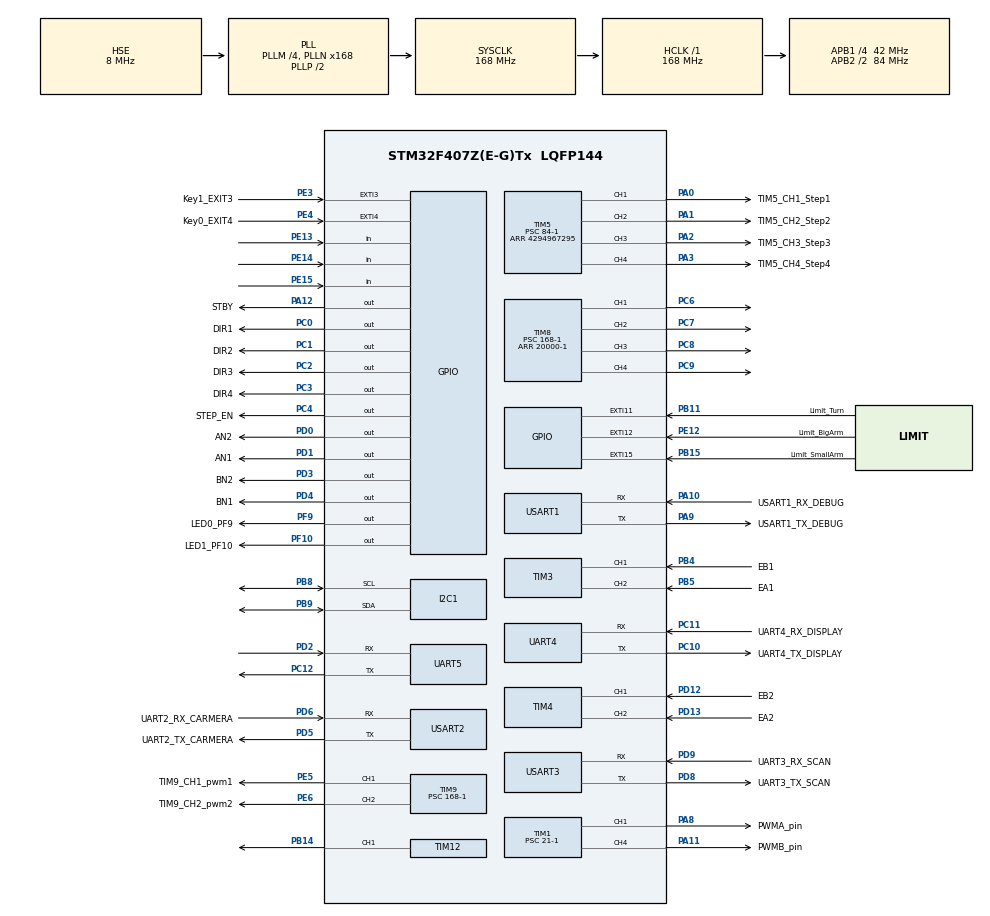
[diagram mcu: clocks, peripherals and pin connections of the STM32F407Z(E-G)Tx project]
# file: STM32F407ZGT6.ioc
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Dma.Request0=USART2_RX
Dma.Request1=USART2_TX
Dma.Request2=USART3_RX
Dma.Request3=USART3_TX
Dma.Request4=UART4_RX
Dma.Request5=UART4_TX
Dma.Request6=USART1_TX
Dma.Request7=USART1_RX
Dma.Request8=UART5_TX
Dma.UART4_RX.4.Direction=DMA_PERIPH_TO_MEMORY
Dma.UART4_RX.4.FIFOMode=DMA_FIFOMODE_DISABLE
Dma.UART4_RX.4.Instance=DMA1_Stream2
Dma.UART4_RX.4.MemDataAlignment=DMA_MDATAALIGN_BYTE
Dma.UART4_RX.4.MemInc=DMA_MINC_ENABLE
Dma.UART4_RX.4.Mode=DMA_NORMAL
Dma.UART4_RX.4.PeriphDataAlignment=DMA_PDATAALIGN_BYTE
Dma.UART4_RX.4.PeriphInc=DMA_PINC_DISABLE
Dma.UART4_RX.4.Priority=DMA_PRIORITY_HIGH
Dma.UART4_TX.5.Direction=DMA_MEMORY_TO_PERIPH
Dma.UART4_TX.5.FIFOMode=DMA_FIFOMODE_DISABLE
Dma.UART4_TX.5.Instance=DMA1_Stream4
Dma.UART4_TX.5.MemDataAlignment=DMA_MDATAALIGN_BYTE
Dma.UART4_TX.5.MemInc=DMA_MINC_ENABLE
Dma.UART4_TX.5.Mode=DMA_NORMAL
Dma.UART4_TX.5.PeriphDataAlignment=DMA_PDATAALIGN_BYTE
Dma.UART4_TX.5.PeriphInc=DMA_PINC_DISABLE
Dma.UART4_TX.5.Priority=DMA_PRIORITY_HIGH
Dma.UART5_TX.8.Direction=DMA_MEMORY_TO_PERIPH
Dma.UART5_TX.8.FIFOMode=DMA_FIFOMODE_DISABLE
Dma.UART5_TX.8.Instance=DMA1_Stream7
Dma.UART5_TX.8.MemDataAlignment=DMA_MDATAALIGN_BYTE
Dma.UART5_TX.8.MemInc=DMA_MINC_ENABLE
Dma.UART5_TX.8.Mode=DMA_NORMAL
Dma.UART5_TX.8.PeriphDataAlignment=DMA_PDATAALIGN_BYTE
Dma.UART5_TX.8.PeriphInc=DMA_PINC_DISABLE
Dma.UART5_TX.8.Priority=DMA_PRIORITY_LOW
Dma.USART1_RX.7.Direction=DMA_PERIPH_TO_MEMORY
Dma.USART1_RX.7.FIFOMode=DMA_FIFOMODE_DISABLE
Dma.USART1_RX.7.Instance=DMA2_Stream2
Dma.USART1_RX.7.MemDataAlignment=DMA_MDATAALIGN_BYTE
Dma.USART1_RX.7.MemInc=DMA_MINC_ENABLE
Dma.USART1_RX.7.Mode=DMA_CIRCULAR
Dma.USART1_RX.7.PeriphDataAlignment=DMA_PDATAALIGN_BYTE
Dma.USART1_RX.7.PeriphInc=DMA_PINC_DISABLE
Dma.USART1_RX.7.Priority=DMA_PRIORITY_LOW
Dma.USART1_TX.6.Direction=DMA_MEMORY_TO_PERIPH
Dma.USART1_TX.6.FIFOMode=DMA_FIFOMODE_DISABLE
Dma.USART1_TX.6.Instance=DMA2_Stream7
Dma.USART1_TX.6.MemDataAlignment=DMA_MDATAALIGN_BYTE
Dma.USART1_TX.6.MemInc=DMA_MINC_ENABLE
Dma.USART1_TX.6.Mode=DMA_NORMAL
Dma.USART1_TX.6.PeriphDataAlignment=DMA_PDATAALIGN_BYTE
Dma.USART1_TX.6.PeriphInc=DMA_PINC_DISABLE
Dma.USART1_TX.6.Priority=DMA_PRIORITY_LOW
Dma.USART2_RX.0.Direction=DMA_PERIPH_TO_MEMORY
Dma.USART2_RX.0.FIFOMode=DMA_FIFOMODE_DISABLE
Dma.USART2_RX.0.Instance=DMA1_Stream5
Dma.USART2_RX.0.MemDataAlignment=DMA_MDATAALIGN_BYTE
Dma.USART2_RX.0.MemInc=DMA_MINC_ENABLE
Dma.USART2_RX.0.Mode=DMA_CIRCULAR
Dma.USART2_RX.0.PeriphDataAlignment=DMA_PDATAALIGN_BYTE
Dma.USART2_RX.0.PeriphInc=DMA_PINC_DISABLE
Dma.USART2_RX.0.Priority=DMA_PRIORITY_HIGH
Dma.USART2_TX.1.Direction=DMA_MEMORY_TO_PERIPH
Dma.USART2_TX.1.FIFOMode=DMA_FIFOMODE_DISABLE
Dma.USART2_TX.1.Instance=DMA1_Stream6
Dma.USART2_TX.1.MemDataAlignment=DMA_MDATAALIGN_BYTE
Dma.USART2_TX.1.MemInc=DMA_MINC_ENABLE
Dma.USART2_TX.1.Mode=DMA_NORMAL
Dma.USART2_TX.1.PeriphDataAlignment=DMA_PDATAALIGN_BYTE
Dma.USART2_TX.1.PeriphInc=DMA_PINC_DISABLE
Dma.USART2_TX.1.Priority=DMA_PRIORITY_HIGH
Dma.USART3_RX.2.Direction=DMA_PERIPH_TO_MEMORY
Dma.USART3_RX.2.FIFOMode=DMA_FIFOMODE_DISABLE
Dma.USART3_RX.2.Instance=DMA1_Stream1
Dma.USART3_RX.2.MemDataAlignment=DMA_MDATAALIGN_BYTE
Dma.USART3_RX.2.MemInc=DMA_MINC_ENABLE
Dma.USART3_RX.2.Mode=DMA_NORMAL
Dma.USART3_RX.2.PeriphDataAlignment=DMA_PDATAALIGN_BYTE
Dma.USART3_RX.2.PeriphInc=DMA_PINC_DISABLE
Dma.USART3_RX.2.Priority=DMA_PRIORITY_HIGH
Dma.USART3_TX.3.Direction=DMA_MEMORY_TO_PERIPH
Dma.USART3_TX.3.FIFOMode=DMA_FIFOMODE_DISABLE
Dma.USART3_TX.3.Instance=DMA1_Stream3
Dma.USART3_TX.3.MemDataAlignment=DMA_MDATAALIGN_BYTE
Dma.USART3_TX.3.MemInc=DMA_MINC_ENABLE
Dma.USART3_TX.3.Mode=DMA_NORMAL
Dma.USART3_TX.3.PeriphDataAlignment=DMA_PDATAALIGN_BYTE
Dma.USART3_TX.3.PeriphInc=DMA_PINC_DISABLE
Dma.USART3_TX.3.Priority=DMA_PRIORITY_HIGH
I2C1.I2C_Mode=I2C_Fast
Mcu.Family=STM32F4
Mcu.Name=STM32F407Z(E-G)Tx
Mcu.Package=LQFP144
NVIC.DMA1_Stream1_IRQn=true\:1\:0\:true\:false\:true\:false\:true\:true
NVIC.DMA1_Stream2_IRQn=true\:1\:0\:true\:false\:true\:false\:true\:true
NVIC.DMA1_Stream3_IRQn=true\:1\:0\:true\:false\:true\:false\:true\:true
NVIC.DMA1_Stream4_IRQn=true\:1\:0\:true\:false\:true\:false\:true\:true
NVIC.DMA1_Stream5_IRQn=true\:1\:0\:true\:false\:true\:false\:true\:true
NVIC.DMA1_Stream6_IRQn=true\:1\:0\:true\:false\:true\:false\:true\:true
NVIC.DMA1_Stream7_IRQn=true\:1\:0\:true\:false\:true\:false\:true\:true
NVIC.DMA2_Stream2_IRQn=true\:0\:0\:false\:false\:true\:false\:true\:true
NVIC.DMA2_Stream7_IRQn=true\:0\:0\:false\:false\:true\:false\:true\:true
NVIC.EXTI15_10_IRQn=true\:0\:0\:true\:false\:true\:true\:true\:true
NVIC.EXTI3_IRQn=true\:0\:0\:true\:false\:true\:true\:true\:true
NVIC.EXTI4_IRQn=true\:0\:0\:true\:false\:true\:true\:true\:true
NVIC.PriorityGroup=NVIC_PRIORITYGROUP_2
NVIC.TIM1_UP_TIM10_IRQn=true\:2\:0\:true\:false\:true\:true\:true\:true
NVIC.TIM5_IRQn=true\:1\:1\:true\:false\:true\:true\:true\:true
NVIC.TIM6_DAC_IRQn=true\:1\:1\:true\:false\:true\:true\:true\:true
NVIC.TIM7_IRQn=true\:1\:1\:true\:false\:true\:true\:true\:true
NVIC.UART4_IRQn=true\:1\:0\:true\:false\:true\:true\:true\:true
NVIC.UART5_IRQn=true\:0\:0\:false\:false\:true\:true\:true\:true
NVIC.USART1_IRQn=true\:1\:1\:true\:false\:true\:true\:true\:true
NVIC.USART2_IRQn=true\:0\:0\:true\:false\:true\:true\:true\:true
NVIC.USART3_IRQn=true\:1\:0\:true\:false\:true\:true\:true\:true
PA0-WKUP.GPIO_Label=TIM5_CH1_Step1
PA0-WKUP.GPIO_PuPd=GPIO_PULLDOWN
PA0-WKUP.GPIO_Speed=GPIO_SPEED_FREQ_MEDIUM
PA0-WKUP.Signal=S_TIM5_CH1
PA1.GPIO_Label=TIM5_CH2_Step2
PA1.GPIO_PuPd=GPIO_PULLDOWN
PA1.GPIO_Speed=GPIO_SPEED_FREQ_MEDIUM
PA1.Signal=S_TIM5_CH2
PA10.GPIO_Label=USART1_RX_DEBUG
PA10.Mode=Asynchronous
PA10.Signal=USART1_RX
PA11.GPIO_Label=PWMB_pin
PA11.GPIO_Speed=GPIO_SPEED_FREQ_HIGH
PA11.Signal=S_TIM1_CH4
PA12.GPIO_Label=STBY
PA12.GPIO_PuPd=GPIO_PULLDOWN
PA12.Signal=GPIO_Output
PA13.Mode=Serial_Wire
PA13.Signal=SYS_JTMS-SWDIO
PA14.Mode=Serial_Wire
PA14.Signal=SYS_JTCK-SWCLK
PA2.GPIO_Label=TIM5_CH3_Step3
PA2.GPIO_PuPd=GPIO_PULLDOWN
PA2.GPIO_Speed=GPIO_SPEED_FREQ_MEDIUM
PA2.Signal=S_TIM5_CH3
PA3.GPIO_Label=TIM5_CH4_Step4
PA3.GPIO_PuPd=GPIO_PULLDOWN
PA3.GPIO_Speed=GPIO_SPEED_FREQ_MEDIUM
PA3.Signal=S_TIM5_CH4
PA8.GPIO_Label=PWMA_pin
PA8.GPIO_Speed=GPIO_SPEED_FREQ_HIGH
PA8.Signal=S_TIM1_CH1
PA9.GPIO_Label=USART1_TX_DEBUG
PA9.Mode=Asynchronous
PA9.Signal=USART1_TX
PB11.GPIO_Label=Limit_Turn
PB11.GPIO_ModeDefaultEXTI=GPIO_MODE_IT_FALLING
PB11.GPIO_PuPd=GPIO_PULLUP
PB11.Signal=GPXTI11
PB14.Signal=S_TIM12_CH1
PB15.GPIO_Label=Limit_SmallArm
PB15.GPIO_ModeDefaultEXTI=GPIO_MODE_IT_FALLING
PB15.GPIO_PuPd=GPIO_PULLUP
PB15.Signal=GPXTI15
PB4.GPIO_Label=EB1
PB4.GPIO_PuPd=GPIO_NOPULL
PB4.GPIO_Speed=GPIO_SPEED_FREQ_HIGH
PB4.Signal=S_TIM3_CH1
PB5.GPIO_Label=EA1
PB5.GPIO_PuPd=GPIO_NOPULL
PB5.GPIO_Speed=GPIO_SPEED_FREQ_HIGH
PB5.Signal=S_TIM3_CH2
PB8.Mode=I2C
PB8.Signal=I2C1_SCL
PB9.Mode=I2C
PB9.Signal=I2C1_SDA
PC0.GPIO_Label=DIR1
PC0.GPIO_PuPd=GPIO_PULLDOWN
PC0.Signal=GPIO_Output
PC1.GPIO_Label=DIR2
PC1.GPIO_PuPd=GPIO_PULLDOWN
PC1.GPIO_Speed=GPIO_SPEED_FREQ_LOW
PC1.Signal=GPIO_Output
PC10.GPIO_Label=UART4_TX_DISPLAY
PC10.Mode=Asynchronous
PC10.Signal=UART4_TX
PC11.GPIO_Label=UART4_RX_DISPLAY
PC11.Mode=Asynchronous
PC11.Signal=UART4_RX
PC12.Mode=Asynchronous
PC12.Signal=UART5_TX
PC2.GPIO_Label=DIR3
PC2.GPIO_PuPd=GPIO_PULLDOWN
PC2.GPIO_Speed=GPIO_SPEED_FREQ_LOW
PC2.Signal=GPIO_Output
PC3.GPIO_Label=DIR4
PC3.GPIO_PuPd=GPIO_PULLDOWN
PC3.GPIO_Speed=GPIO_SPEED_FREQ_LOW
PC3.Signal=GPIO_Output
PC4.GPIO_Label=STEP_EN
PC4.GPIO_PuPd=GPIO_PULLDOWN
PC4.Signal=GPIO_Output
PC6.GPIO_PuPd=GPIO_PULLDOWN
PC6.GPIO_Speed=GPIO_SPEED_FREQ_MEDIUM
PC6.Signal=S_TIM8_CH1
PC7.GPIO_PuPd=GPIO_PULLDOWN
PC7.GPIO_Speed=GPIO_SPEED_FREQ_MEDIUM
PC7.Signal=S_TIM8_CH2
PC8.GPIO_PuPd=GPIO_PULLDOWN
PC8.GPIO_Speed=GPIO_SPEED_FREQ_MEDIUM
PC8.Signal=S_TIM8_CH3
PC9.GPIO_PuPd=GPIO_PULLDOWN
PC9.GPIO_Speed=GPIO_SPEED_FREQ_MEDIUM
PC9.Signal=S_TIM8_CH4
PD0.GPIO_Label=AN2
PD0.Signal=GPIO_Output
PD1.GPIO_Label=AN1
PD1.GPIO_PuPd=GPIO_PULLDOWN
PD1.GPIO_Speed=GPIO_SPEED_FREQ_HIGH
PD1.Signal=GPIO_Output
PD12.GPIO_Label=EB2
PD12.GPIO_Speed=GPIO_SPEED_FREQ_HIGH
PD12.Signal=S_TIM4_CH1
PD13.GPIO_Label=EA2
PD13.GPIO_Speed=GPIO_SPEED_FREQ_HIGH
PD13.Signal=S_TIM4_CH2
PD2.Mode=Asynchronous
PD2.Signal=UART5_RX
PD3.GPIO_Label=BN2
PD3.GPIO_PuPd=GPIO_PULLDOWN
PD3.GPIO_Speed=GPIO_SPEED_FREQ_HIGH
PD3.Signal=GPIO_Output
PD4.GPIO_Label=BN1
PD4.GPIO_PuPd=GPIO_PULLDOWN
PD4.GPIO_Speed=GPIO_SPEED_FREQ_HIGH
PD4.Signal=GPIO_Output
PD5.GPIO_Label=UART2_TX_CARMERA
PD5.Mode=Asynchronous
PD5.Signal=USART2_TX
PD6.GPIO_Label=UART2_RX_CARMERA
PD6.Mode=Asynchronous
PD6.Signal=USART2_RX
PD8.GPIO_Label=UART3_TX_SCAN
PD8.Mode=Asynchronous
PD8.Signal=USART3_TX
PD9.GPIO_Label=UART3_RX_SCAN
PD9.Mode=Asynchronous
PD9.Signal=USART3_RX
PE12.GPIO_Label=Limit_BigArm
PE12.GPIO_ModeDefaultEXTI=GPIO_MODE_IT_FALLING
PE12.GPIO_PuPd=GPIO_PULLUP
PE12.Signal=GPXTI12
PE13.Signal=GPIO_Input
PE14.Signal=GPIO_Input
PE15.Signal=GPIO_Input
PE3.GPIO_Label=Key1_EXIT3
PE3.GPIO_ModeDefaultEXTI=GPIO_MODE_IT_FALLING
PE3.GPIO_PuPd=GPIO_PULLUP
PE3.Signal=GPXTI3
PE4.GPIO_Label=Key0_EXIT4
PE4.GPIO_ModeDefaultEXTI=GPIO_MODE_IT_FALLING
PE4.GPIO_PuPd=GPIO_PULLUP
PE4.Signal=GPXTI4
PE5.GPIO_Label=TIM9_CH1_pwm1
PE5.GPIO_PuPd=GPIO_PULLDOWN
PE5.GPIO_Speed=GPIO_SPEED_FREQ_MEDIUM
PE5.Signal=S_TIM9_CH1
PE6.GPIO_Label=TIM9_CH2_pwm2
PE6.GPIO_PuPd=GPIO_PULLDOWN
PE6.GPIO_Speed=GPIO_SPEED_FREQ_MEDIUM
PE6.Signal=S_TIM9_CH2
PF10.GPIO_Label=LED1_PF10
PF10.GPIO_PuPd=GPIO_PULLUP
PF10.PinState=GPIO_PIN_SET
PF10.Signal=GPIO_Output
PF9.GPIO_Label=LED0_PF9
PF9.GPIO_PuPd=GPIO_PULLUP
PF9.PinState=GPIO_PIN_SET
PF9.Signal=GPIO_Output
PH0-OSC_IN.Mode=HSE-External-Oscillator
PH0-OSC_IN.Signal=RCC_OSC_IN
PH1-OSC_OUT.Mode=HSE-External-Oscillator
PH1-OSC_OUT.Signal=RCC_OSC_OUT
ProjectManager.HeapSize=0x200
ProjectManager.StackSize=0x400
ProjectManager.TargetToolchain=MDK-ARM V5.32
RCC.48MHZClocksFreq_Value=84000000
RCC.AHBFreq_Value=168000000
RCC.APB1CLKDivider=RCC_HCLK_DIV4
RCC.APB1Freq_Value=42000000
RCC.APB1TimFreq_Value=84000000
RCC.APB2CLKDivider=RCC_HCLK_DIV2
RCC.APB2Freq_Value=84000000
RCC.APB2TimFreq_Value=168000000
RCC.CortexFreq_Value=168000000
RCC.EnbaleCSS=true
RCC.HCLKFreq_Value=168000000
RCC.HSE_VALUE=8000000
RCC.HSI_VALUE=16000000
RCC.LSE_VALUE=32768
RCC.PLLM=4
RCC.PLLN=168
RCC.PLLSourceVirtual=RCC_PLLSOURCE_HSE
RCC.SYSCLKFreq_VALUE=168000000
RCC.SYSCLKSource=RCC_SYSCLKSOURCE_PLLCLK
RCC.VCOOutputFreq_Value=336000000
SH.S_TIM12_CH1.0=TIM12_CH1,PWM Generation1 CH1
SH.S_TIM1_CH1.0=TIM1_CH1,PWM Generation1 CH1
SH.S_TIM1_CH4.0=TIM1_CH4,PWM Generation4 CH4
SH.S_TIM3_CH1.0=TIM3_CH1,Encoder_Interface
SH.S_TIM3_CH2.0=TIM3_CH2,Encoder_Interface
SH.S_TIM4_CH1.0=TIM4_CH1,Encoder_Interface
SH.S_TIM4_CH2.0=TIM4_CH2,Encoder_Interface
SH.S_TIM5_CH1.0=TIM5_CH1,Output Compare1 CH1
SH.S_TIM5_CH2.0=TIM5_CH2,Output Compare2 CH2
SH.S_TIM5_CH3.0=TIM5_CH3,Output Compare3 CH3
SH.S_TIM5_CH4.0=TIM5_CH4,Output Compare4 CH4
SH.S_TIM8_CH1.0=TIM8_CH1,PWM Generation1 CH1
SH.S_TIM8_CH2.0=TIM8_CH2,PWM Generation2 CH2
SH.S_TIM8_CH3.0=TIM8_CH3,PWM Generation3 CH3
SH.S_TIM8_CH4.0=TIM8_CH4,PWM Generation4 CH4
SH.S_TIM9_CH1.0=TIM9_CH1,PWM Generation1 CH1
SH.S_TIM9_CH2.0=TIM9_CH2,PWM Generation2 CH2
TIM1.AutoReloadPreload=TIM_AUTORELOAD_PRELOAD_ENABLE
TIM1.BreakState=TIM_BREAK_DISABLE
TIM1.Channel-PWM\ Generation1\ CH1=TIM_CHANNEL_1
TIM1.Channel-PWM\ Generation2\ CH2=TIM_CHANNEL_2
TIM1.Channel-PWM\ Generation3\ CH3=TIM_CHANNEL_3
TIM1.Channel-PWM\ Generation4\ CH4=TIM_CHANNEL_4
TIM1.OCFastMode_PWM-PWM\ Generation1\ CH1=TIM_OCFAST_ENABLE
TIM1.OCFastMode_PWM-PWM\ Generation4\ CH4=TIM_OCFAST_ENABLE
TIM1.Period=3600-1
TIM1.Prescaler=21-1
TIM1.Pulse-PWM\ Generation1\ CH1=0
TIM1.Pulse-PWM\ Generation2\ CH2=0
TIM10.Period=1000-1
TIM10.Prescaler=16800-1
TIM12.Channel-PWM\ Generation1\ CH1=TIM_CHANNEL_1
TIM12.Period=20000-1
TIM12.Prescaler=84-1
TIM3.EncoderMode=TIM_ENCODERMODE_TI12
TIM3.IC1Filter=6
TIM3.IC2Filter=6
TIM4.EncoderMode=TIM_ENCODERMODE_TI12
TIM5.AutoReloadPreload=TIM_AUTORELOAD_PRELOAD_DISABLE
TIM5.Channel-Output\ Compare1\ CH1=TIM_CHANNEL_1
TIM5.Channel-Output\ Compare2\ CH2=TIM_CHANNEL_2
TIM5.Channel-Output\ Compare3\ CH3=TIM_CHANNEL_3
TIM5.Channel-Output\ Compare4\ CH4=TIM_CHANNEL_4
TIM5.OC2Preload=DISABLE
TIM5.OC3Preload=DISABLE
TIM5.OC4Preload=DISABLE
TIM5.OCMode_1=TIM_OCMODE_TOGGLE
TIM5.OCMode_2=TIM_OCMODE_TOGGLE
TIM5.OCMode_3=TIM_OCMODE_TOGGLE
TIM5.OCMode_4=TIM_OCMODE_TOGGLE
TIM5.OCPolarity_4=TIM_OCPOLARITY_LOW
TIM5.Period=4294967295
TIM5.Prescaler=84-1
TIM6.Period=200-1
TIM6.Prescaler=8400-1
TIM7.Period=201-1
TIM7.Prescaler=8400-1
TIM8.AutoReloadPreload=TIM_AUTORELOAD_PRELOAD_ENABLE
TIM8.Channel-PWM\ Generation1\ CH1=TIM_CHANNEL_1
TIM8.Channel-PWM\ Generation2\ CH2=TIM_CHANNEL_2
TIM8.Channel-PWM\ Generation3\ CH3=TIM_CHANNEL_3
TIM8.Channel-PWM\ Generation4\ CH4=TIM_CHANNEL_4
TIM8.Period=20000-1
TIM8.Prescaler=168-1
TIM9.AutoReloadPreload=TIM_AUTORELOAD_PRELOAD_ENABLE
TIM9.Channel-PWM\ Generation1\ CH1=TIM_CHANNEL_1
TIM9.Channel-PWM\ Generation2\ CH2=TIM_CHANNEL_2
TIM9.Period=20000-1
TIM9.Prescaler=168-1
UART4.VirtualMode=Asynchronous
UART5.VirtualMode=Asynchronous
USART1.VirtualMode=VM_ASYNC
USART2.VirtualMode=VM_ASYNC
USART3.VirtualMode=VM_ASYNC
VP_TIM10_VS_ClockSourceINT.Mode=Enable_Timer
VP_TIM12_VS_ClockSourceINT.Mode=Internal
VP_TIM1_VS_ClockSourceINT.Mode=Internal
VP_TIM5_VS_ClockSourceINT.Mode=Internal
VP_TIM6_VS_ClockSourceINT.Mode=Enable_Timer
VP_TIM7_VS_ClockSourceINT.Mode=Enable_Timer
VP_TIM8_VS_ClockSourceINT.Mode=Internal
VP_TIM9_VS_ClockSourceINT.Mode=Internal
board=custom

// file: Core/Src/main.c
/* USER CODE BEGIN Header */
/**
  ******************************************************************************
  * @file           : main.c
  * @brief          : Main program body
  ******************************************************************************
  * @attention
  *
  * Copyright (c) 2023 STMicroelectronics.
  * All rights reserved.
  *
  * This software is licensed under terms that can be found in the LICENSE file
  * in the root directory of this software component.
  * If no LICENSE file comes with this software, it is provided AS-IS.
  *
  ******************************************************************************
  */
/* USER CODE END Header */
#include "main.h"
#include "dma.h"
#include "i2c.h"
#include "tim.h"
#include "usart.h"
#include "gpio.h"

/* USER CODE BEGIN Includes */
#include "my_uart.h"
#include "key.h"
#include "control.h"
#include "RobTask.h"

/* USER CODE END Includes */

void SystemClock_Config(void);

int main(void)
{

  /* MCU Configuration--------------------------------------------------------*/

  /* Reset of all peripherals, Initializes the Flash interface and the Systick. */
  HAL_Init();

  /* Configure the system clock */
  SystemClock_Config();

  /* Initialize all configured peripherals */
  MX_GPIO_Init();
  MX_DMA_Init();
  MX_TIM1_Init();
  MX_USART1_UART_Init();
  MX_TIM3_Init();
  MX_TIM4_Init();
  MX_USART2_UART_Init();
  MX_I2C1_Init();
  MX_UART4_Init();
  MX_USART3_UART_Init();
  MX_TIM6_Init();
  MX_TIM7_Init();
  MX_TIM5_Init();
  MX_UART5_Init();
  MX_TIM9_Init();
  MX_TIM8_Init();
  MX_TIM12_Init();
  MX_TIM10_Init();
  /* USER CODE BEGIN 2 */
  HAL_TIM_Base_Stop_IT(&htim10);
  /*============                ============= --*/

    Servo_Init();
    Correspond_Init();
    Car_Drive_Init();

    StepMotor_Init( );
    HAL_Delay(500);
    StepArm_Task_InitPosition();

    HAL_Delay(800); // avoid too quick init process that the MCU can't run normally

  /* USER CODE END 2 */

  /* Infinite loop */
  /* USER CODE BEGIN WHILE */
  ScanCode();

  SendCmdA;
  // task = Stop;     do_cnt = 0;//

  task = BackOut_1;     do_cnt = 0;// ???? ??
  SendCmdA;

  // StepMotorTask = 1;

  while (1)
  {
    //  printf("tar:|%d |%d|\r\n",TIM4 -> CNT,TIM3 -> CNT ) ;

    Other_Actions();

    /* USER CODE END WHILE */

    /* USER CODE BEGIN 3 */
      // if(StepMotorTask) /* debug for Arm */
      // {
      //   StepArm_TaskTest(Base);
      //   StepMotorTask=0;
      // }
  }
  /* USER CODE END 3 */
}

void SystemClock_Config(void)
{
  RCC_OscInitTypeDef RCC_OscInitStruct = {0};
  RCC_ClkInitTypeDef RCC_ClkInitStruct = {0};

  /** Configure the main internal regulator output voltage
  */
  __HAL_RCC_PWR_CLK_ENABLE();
  __HAL_PWR_VOLTAGESCALING_CONFIG(PWR_REGULATOR_VOLTAGE_SCALE1);

  /** Initializes the RCC Oscillators according to the specified parameters
  * in the RCC_OscInitTypeDef structure.
  */
  RCC_OscInitStruct.OscillatorType = RCC_OSCILLATORTYPE_HSE;
  RCC_OscInitStruct.HSEState = RCC_HSE_ON;
  RCC_OscInitStruct.PLL.PLLState = RCC_PLL_ON;
  RCC_OscInitStruct.PLL.PLLSource = RCC_PLLSOURCE_HSE;
  RCC_OscInitStruct.PLL.PLLM = 4;
  RCC_OscInitStruct.PLL.PLLN = 168;
  RCC_OscInitStruct.PLL.PLLP = RCC_PLLP_DIV2;
  RCC_OscInitStruct.PLL.PLLQ = 4;
  if (HAL_RCC_OscConfig(&RCC_OscInitStruct) != HAL_OK)
  {
    Error_Handler();
  }

  /** Initializes the CPU, AHB and APB buses clocks
  */
  RCC_ClkInitStruct.ClockType = RCC_CLOCKTYPE_HCLK|RCC_CLOCKTYPE_SYSCLK
                              |RCC_CLOCKTYPE_PCLK1|RCC_CLOCKTYPE_PCLK2;
  RCC_ClkInitStruct.SYSCLKSource = RCC_SYSCLKSOURCE_PLLCLK;
  RCC_ClkInitStruct.AHBCLKDivider = RCC_SYSCLK_DIV1;
  RCC_ClkInitStruct.APB1CLKDivider = RCC_HCLK_DIV4;
  RCC_ClkInitStruct.APB2CLKDivider = RCC_HCLK_DIV2;

  if (HAL_RCC_ClockConfig(&RCC_ClkInitStruct, FLASH_LATENCY_5) != HAL_OK)
  {
    Error_Handler();
  }

  /** Enables the Clock Security System
  */
  HAL_RCC_EnableCSS();
}

void Error_Handler(void)
{
  __disable_irq();
  while (1)
  {
  }
}
